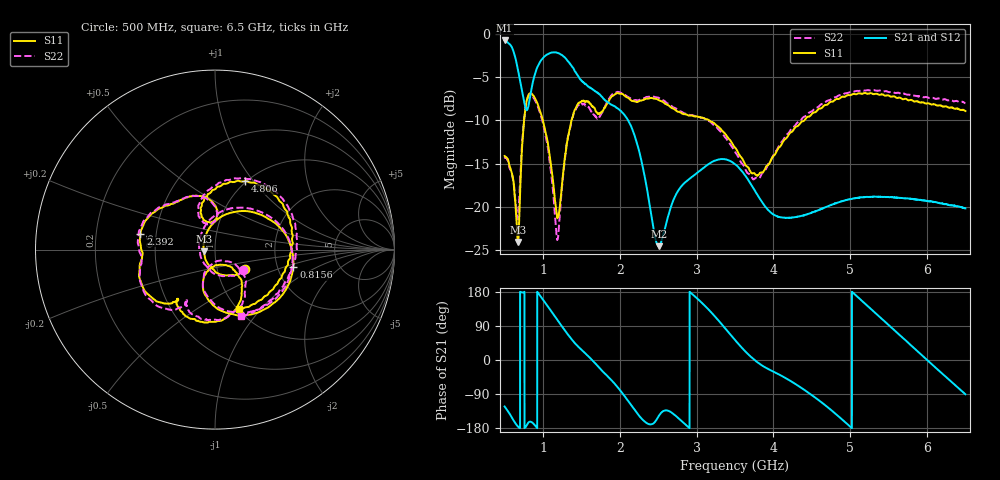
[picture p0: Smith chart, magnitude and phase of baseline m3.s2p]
# Hz S DB R 50
! CMT, S5065, 24347010, 24.3.4/3
! Date: 10/15/2024 11:19:56 AM
! Data: Format (Calibration Info)
! Freq	S11:dB/Ang(F2)	S21:dB/Ang(F2)	S12:dB/Ang(F2)	S22:dB/Ang(F2)
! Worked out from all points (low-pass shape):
!   10001 points, 500 MHz to 6.5 GHz, reference 50 ohm
!   highest |S21| = -0.78 dB at 500 MHz (marker M1); lowest = -24.5 dB at 2.508 GHz (marker M2)
!   |S21| within 3 dB of the highest: start of sweep to 665.1 MHz; 930.1 MHz to 1.377 GHz (447.2 MHz wide, 38.8 % of centre)
!   lowest |S11| = -24.0 dB at 674 MHz (marker M3), VSWR 1.13, Z = 44.1 - j0.775 ohm
!   |S11| at or under -10 dB: start of sweep to 753.2 MHz; 998.2 MHz to 1.371 GHz (372.5 MHz wide, 31.5 % of centre); 3.165 GHz to 4.404 GHz (1.239 GHz wide, 32.7 % of centre)
!   |S22| runs from -23.8 to -6.5 dB; largest |S21 - S12| = 0.0035
!   S11 on the Smith chart (normalised r, x): 500 MHz: 1.36, -0.30; 815.6 MHz: 2.45, -0.59; 2.392 GHz: 0.41, +0.09; 4.806 GHz: 0.98, +0.91; 6.5 GHz: 1.01, -0.77
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5e8  -14.11 -33.1  -0.78 -122.7  -0.78 -122.6  -14.21 -36.0
5.978e8  -16.20 -68.4  -1.64 -153.0  -1.64 -152.9  -16.29 -74.6
6.74e8  -24.02 -172.0  -4.16 -175.6  -4.15 -175.5  -21.26 -178.6
7.442e8  -10.88 47.9  -7.38 178.4  -7.39 178.4  -10.80 53.6
8.156e8  -6.99 -12.5  -8.09 -163.9  -8.08 -164.0  -7.19 -8.9
8.966e8  -7.47 -56.2  -4.62 -172.7  -4.61 -172.8  -7.68 -53.7
9.998e8  -10.06 -91.2  -2.81 159.2  -2.81 159.2  -10.34 -90.7
1.1864e9  -21.29 -85.3  -2.22 106.0  -2.21 106.0  -23.76 -76.7
1.3262e9  -11.86 -53.9  -3.22 66.6  -3.20 66.7  -11.84 -48.2
1.5002e9  -7.79 -95.4  -5.40 27.1  -5.38 27.3  -8.12 -93.0
1.9598e9  -6.86 -148.8  -8.57 -68.9  -8.55 -69.1  -6.73 -145.0
2.1812e9  -7.78 -174.7  -11.45 -128.6  -11.45 -128.7  -7.67 -171.5
2.3918e9  -7.44 167.8  -19.95 -169.8  -19.96 -170.0  -7.27 170.1
2.5004e9  -7.62 156.2  -24.47 -150.3  -24.50 -150.8  -7.38 157.7
2.5082e9  -7.66 155.3  -24.51 -147.5  -24.52 -147.9  -7.42 157.0
2.8232e9  -9.27 131.6  -17.39 -164.6  -17.40 -164.9  -9.12 131.5
3.5e9  -13.14 86.7  -15.04 53.0  -15.06 52.6  -13.63 86.9
3.8096e9  -16.26 100.6  -18.82 -8.6  -18.84 -9.0  -16.70 106.1
4.5002e9  -9.27 88.6  -20.65 -92.5  -20.66 -93.1  -8.97 90.0
4.8056e9  -7.61 66.5  -19.59 -141.4  -19.59 -141.7  -7.33 67.3
5.5004e9  -7.13 9.8  -18.85 92.3  -18.88 91.9  -6.73 9.4
6.5e9  -8.93 -68.5  -20.15 -90.4  -20.19 -89.8  -8.03 -68.9
